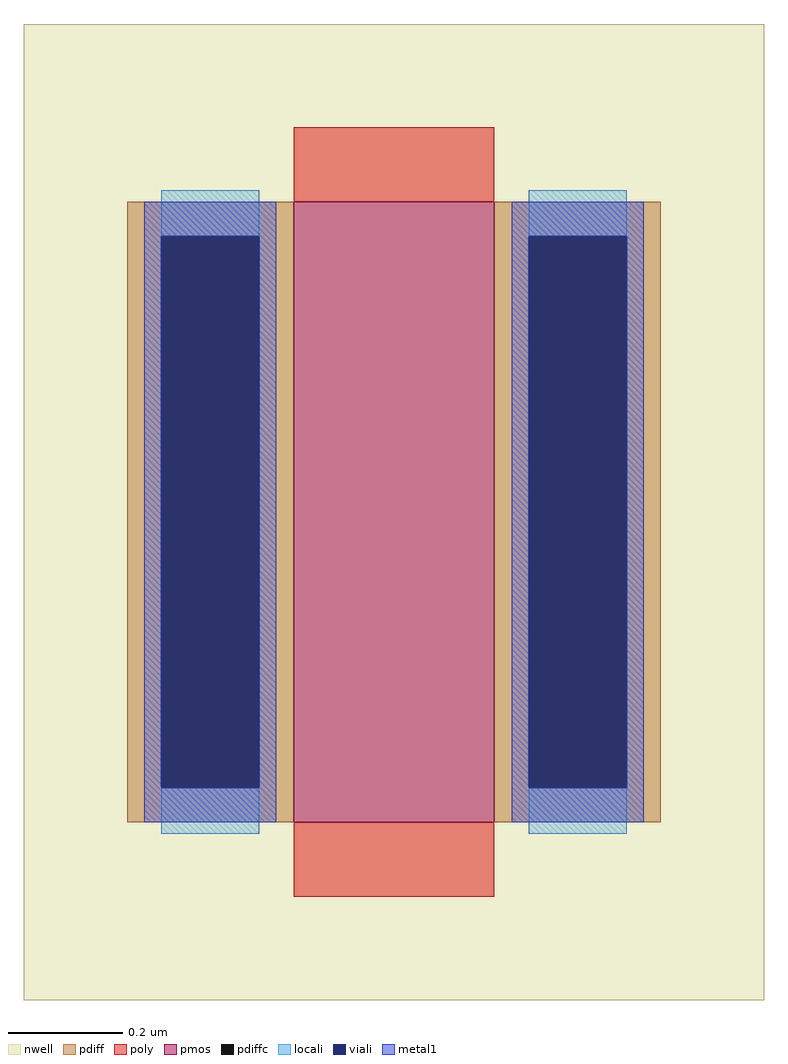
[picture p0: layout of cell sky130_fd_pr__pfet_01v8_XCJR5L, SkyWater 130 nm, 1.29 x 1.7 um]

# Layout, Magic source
magic
tech sky130A
magscale 1 2
<< nwell >>
rect -129 -170 129 170
<< pmos >>
rect -35 -108 35 108
<< pdiff >>
rect -93 96 -35 108
rect -93 -96 -81 96
rect -47 -96 -35 96
rect -93 -108 -35 -96
rect 35 96 93 108
rect 35 -96 47 96
rect 81 -96 93 96
rect 35 -108 93 -96
<< pdiffc >>
rect -81 -96 -47 96
rect 47 -96 81 96
<< poly >>
rect -35 108 35 134
rect -35 -134 35 -108
<< locali >>
rect -81 96 -47 112
rect -81 -112 -47 -96
rect 47 96 81 112
rect 47 -112 81 -96
<< viali >>
rect -81 -96 -47 96
rect 47 -96 81 96
<< metal1 >>
rect -87 96 -41 108
rect -87 -96 -81 96
rect -47 -96 -41 96
rect -87 -108 -41 -96
rect 41 96 87 108
rect 41 -96 47 96
rect 81 -96 87 96
rect 41 -108 87 -96
<< properties >>
string gencell sky130_fd_pr__pfet_01v8
string library sky130
string parameters w 1.075 l 0.35 m 1 nf 1 diffcov 100 polycov 100 guard 0 glc 0 grc 0 gtc 0 gbc 0 tbcov 100 rlcov 100 topc 0 botc 0 poverlap 0 doverlap 0 lmin 0.15 wmin 0.42 compatible {sky130_fd_pr__pfet_01v8  sky130_fd_pr__pfet_01v8_lvt sky130_fd_pr__pfet_01v8_hvt  sky130_fd_pr__pfet_g5v0d10v5} full_metal 0 viasrc 100 viadrn 100 viagate 100 viagb 0 viagr 0 viagl 0 viagt 0
<< end >>
